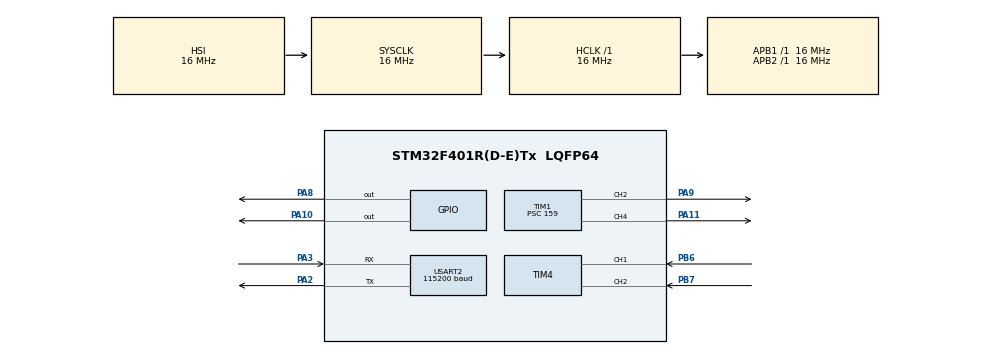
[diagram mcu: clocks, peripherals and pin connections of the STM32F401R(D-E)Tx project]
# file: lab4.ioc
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Mcu.Family=STM32F4
Mcu.Name=STM32F401R(D-E)Tx
Mcu.Package=LQFP64
NVIC.PriorityGroup=NVIC_PRIORITYGROUP_4
PA10.Signal=GPIO_Output
PA11.Signal=S_TIM1_CH4
PA2.Mode=Asynchronous
PA2.Signal=USART2_TX
PA3.Mode=Asynchronous
PA3.Signal=USART2_RX
PA8.Signal=GPIO_Output
PA9.Signal=S_TIM1_CH2
PB6.GPIO_ModeDefaultPP=GPIO_MODE_AF_PP
PB6.GPIO_PuPd=GPIO_PULLUP
PB6.Signal=S_TIM4_CH1
PB7.GPIO_PuPd=GPIO_PULLUP
PB7.Signal=S_TIM4_CH2
ProjectManager.HeapSize=0x200
ProjectManager.StackSize=0x400
ProjectManager.TargetToolchain=STM32CubeIDE
RCC.AHBFreq_Value=16000000
RCC.APB1Freq_Value=16000000
RCC.APB2Freq_Value=16000000
RCC.CortexFreq_Value=16000000
RCC.HSE_VALUE=25000000
RCC.HSI_VALUE=16000000
RCC.LSE_VALUE=32768
RCC.SYSCLKFreq_VALUE=16000000
RCC.VCOOutputFreq_Value=192000000
SH.S_TIM1_CH2.0=TIM1_CH2,PWM Generation2 CH2
SH.S_TIM1_CH4.0=TIM1_CH4,PWM Generation4 CH4
SH.S_TIM4_CH1.0=TIM4_CH1,Encoder_Interface
SH.S_TIM4_CH2.0=TIM4_CH2,Encoder_Interface
TIM1.Channel-PWM\ Generation2\ CH2=TIM_CHANNEL_2
TIM1.Channel-PWM\ Generation4\ CH4=TIM_CHANNEL_4
TIM1.CounterMode=TIM_COUNTERMODE_DOWN
TIM1.Period=100
TIM1.Prescaler=159
TIM2.Period=65535
TIM2.Prescaler=15
USART2.BaudRate=115200
USART2.VirtualMode=VM_ASYNC
VP_TIM1_VS_ClockSourceINT.Mode=Internal
VP_TIM2_VS_ClockSourceINT.Mode=Internal
board=custom

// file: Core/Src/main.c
/* USER CODE BEGIN Header */
/**
  ******************************************************************************
  * @file           : main.c
  * @brief          : Main program body
  ******************************************************************************
  * @attention
  *
  * <h2><center>&copy; Copyright (c) 2021 STMicroelectronics.
  * All rights reserved.</center></h2>
  *
  * This software component is licensed by ST under BSD 3-Clause license,
  * the "License"; You may not use this file except in compliance with the
  * License. You may obtain a copy of the License at:
  *                        opensource.org/licenses/BSD-3-Clause
  *
  ******************************************************************************
  */
/* USER CODE END Header */
#include "main.h"

/* USER CODE BEGIN PD */
// KPu=18  KU = 0.58
#define K_P 1.2
#define K_I	0.0
#define K_D 0.2

#define FREQUENCY 100
#define TARGET_POSITION 500
/* USER CODE END PD */

TIM_HandleTypeDef htim1;
TIM_HandleTypeDef htim2;
TIM_HandleTypeDef htim4;

UART_HandleTypeDef huart2;

void SystemClock_Config(void);
static void MX_GPIO_Init(void);
static void MX_TIM4_Init(void);
static void MX_USART2_UART_Init(void);
static void MX_TIM1_Init(void);
static void MX_TIM2_Init(void);

/* USER CODE BEGIN 0 */

void serial_print(int theta,int u,int error){
	uint8_t DATA[29];
	sprintf(DATA, "%6d %6d %6d %6d\n\r",HAL_GetTick(), theta,u,error);
    HAL_UART_Transmit(&huart2, DATA, 29, 100);
}

void rotare( int pwm){
	if(pwm > 0){
		HAL_GPIO_WritePin(GPIOA, GPIO_PIN_8, 0); //H1
		__HAL_TIM_SET_COMPARE(&htim1, TIM_CHANNEL_2, 0);//H2
		HAL_GPIO_WritePin(GPIOA, GPIO_PIN_10, 1); //H3
		__HAL_TIM_SET_COMPARE(&htim1, TIM_CHANNEL_4, pwm); //H4;
	}else if (pwm < 0){
		HAL_GPIO_WritePin(GPIOA, GPIO_PIN_10, 0); //H3
		__HAL_TIM_SET_COMPARE(&htim1, TIM_CHANNEL_4, 0);//H4
		HAL_GPIO_WritePin(GPIOA, GPIO_PIN_8, 1); //H1
		__HAL_TIM_SET_COMPARE(&htim1, TIM_CHANNEL_2, -pwm);//H2
	} else {
		__HAL_TIM_SET_COMPARE(&htim1, TIM_CHANNEL_4, 0);//H4
		__HAL_TIM_SET_COMPARE(&htim1, TIM_CHANNEL_2, 0);//H2
		HAL_GPIO_WritePin(GPIOA, GPIO_PIN_8, 1); //H1
		HAL_GPIO_WritePin(GPIOA, GPIO_PIN_10, 1); //H3
	}
}
/* USER CODE END 0 */

int main(void)
{

  /* MCU Configuration--------------------------------------------------------*/

  /* Reset of all peripherals, Initializes the Flash interface and the Systick. */
  HAL_Init();

  /* Configure the system clock */
  SystemClock_Config();

  /* Initialize all configured peripherals */
  MX_GPIO_Init();
  MX_TIM4_Init();
  MX_USART2_UART_Init();
  MX_TIM1_Init();
  MX_TIM2_Init();
  /* USER CODE BEGIN 2 */
  HAL_TIM_Encoder_Start(&htim4, TIM_CHANNEL_ALL);   	// start encoder
  HAL_TIM_PWM_Start(&htim1, TIM_CHANNEL_2);				// start pwm
  HAL_TIM_PWM_Start(&htim1, TIM_CHANNEL_4);				// start pwm
  HAL_TIM_Base_Start(&htim2); 							// start timer 2

  float u_p = 0, u_i = 0, u_d = 0;
  int error = TARGET_POSITION, last_error = TARGET_POSITION;
  int sum_u = 0, theta = 0;
  int period = 1000000/FREQUENCY;
  float period_s = 1/FREQUENCY;

  /* USER CODE END 2 */

  /* Infinite loop */
  /* USER CODE BEGIN WHILE */
  TIM4->CNT = 10000;
  TIM2->CNT= 0;
  while(HAL_GetTick() < 660 ){}
  while (1)
  {
    /* USER CODE END WHILE */

    /* USER CODE BEGIN 3 */
	  theta = 2*(TIM4->CNT-10000);
	  error = (TARGET_POSITION - theta);
	  u_p = error * K_P;
	  u_i = u_i + (error * (K_I * period_s));
	  u_d = ((error - last_error) * FREQUENCY) * K_D;
	  sum_u = (u_p + u_d + u_i);

	  if (sum_u > 100) sum_u = 100;
      else if (sum_u < -100) sum_u = -100;

	  rotare(sum_u);
	  serial_print(theta, sum_u,error);
	  while(TIM2->CNT < period ){}
	  last_error = error;
	  TIM2->CNT= 0;
  }
  /* USER CODE END 3 */
}

void SystemClock_Config(void)
{
  RCC_OscInitTypeDef RCC_OscInitStruct = {0};
  RCC_ClkInitTypeDef RCC_ClkInitStruct = {0};

  /** Configure the main internal regulator output voltage
  */
  __HAL_RCC_PWR_CLK_ENABLE();
  __HAL_PWR_VOLTAGESCALING_CONFIG(PWR_REGULATOR_VOLTAGE_SCALE2);
  /** Initializes the RCC Oscillators according to the specified parameters
  * in the RCC_OscInitTypeDef structure.
  */
  RCC_OscInitStruct.OscillatorType = RCC_OSCILLATORTYPE_HSI;
  RCC_OscInitStruct.HSIState = RCC_HSI_ON;
  RCC_OscInitStruct.HSICalibrationValue = RCC_HSICALIBRATION_DEFAULT;
  RCC_OscInitStruct.PLL.PLLState = RCC_PLL_NONE;
  if (HAL_RCC_OscConfig(&RCC_OscInitStruct) != HAL_OK)
  {
    Error_Handler();
  }
  /** Initializes the CPU, AHB and APB buses clocks
  */
  RCC_ClkInitStruct.ClockType = RCC_CLOCKTYPE_HCLK|RCC_CLOCKTYPE_SYSCLK
                              |RCC_CLOCKTYPE_PCLK1|RCC_CLOCKTYPE_PCLK2;
  RCC_ClkInitStruct.SYSCLKSource = RCC_SYSCLKSOURCE_HSI;
  RCC_ClkInitStruct.AHBCLKDivider = RCC_SYSCLK_DIV1;
  RCC_ClkInitStruct.APB1CLKDivider = RCC_HCLK_DIV1;
  RCC_ClkInitStruct.APB2CLKDivider = RCC_HCLK_DIV1;

  if (HAL_RCC_ClockConfig(&RCC_ClkInitStruct, FLASH_LATENCY_0) != HAL_OK)
  {
    Error_Handler();
  }
}

static void MX_TIM1_Init(void)
{

  TIM_ClockConfigTypeDef sClockSourceConfig = {0};
  TIM_MasterConfigTypeDef sMasterConfig = {0};
  TIM_OC_InitTypeDef sConfigOC = {0};
  TIM_BreakDeadTimeConfigTypeDef sBreakDeadTimeConfig = {0};

  htim1.Instance = TIM1;
  htim1.Init.Prescaler = 159;
  htim1.Init.CounterMode = TIM_COUNTERMODE_DOWN;
  htim1.Init.Period = 100;
  htim1.Init.ClockDivision = TIM_CLOCKDIVISION_DIV1;
  htim1.Init.RepetitionCounter = 0;
  htim1.Init.AutoReloadPreload = TIM_AUTORELOAD_PRELOAD_DISABLE;
  if (HAL_TIM_Base_Init(&htim1) != HAL_OK)
  {
    Error_Handler();
  }
  sClockSourceConfig.ClockSource = TIM_CLOCKSOURCE_INTERNAL;
  if (HAL_TIM_ConfigClockSource(&htim1, &sClockSourceConfig) != HAL_OK)
  {
    Error_Handler();
  }
  if (HAL_TIM_PWM_Init(&htim1) != HAL_OK)
  {
    Error_Handler();
  }
  sMasterConfig.MasterOutputTrigger = TIM_TRGO_RESET;
  sMasterConfig.MasterSlaveMode = TIM_MASTERSLAVEMODE_DISABLE;
  if (HAL_TIMEx_MasterConfigSynchronization(&htim1, &sMasterConfig) != HAL_OK)
  {
    Error_Handler();
  }
  sConfigOC.OCMode = TIM_OCMODE_PWM1;
  sConfigOC.Pulse = 0;
  sConfigOC.OCPolarity = TIM_OCPOLARITY_HIGH;
  sConfigOC.OCNPolarity = TIM_OCNPOLARITY_HIGH;
  sConfigOC.OCFastMode = TIM_OCFAST_DISABLE;
  sConfigOC.OCIdleState = TIM_OCIDLESTATE_RESET;
  sConfigOC.OCNIdleState = TIM_OCNIDLESTATE_RESET;
  if (HAL_TIM_PWM_ConfigChannel(&htim1, &sConfigOC, TIM_CHANNEL_2) != HAL_OK)
  {
    Error_Handler();
  }
  if (HAL_TIM_PWM_ConfigChannel(&htim1, &sConfigOC, TIM_CHANNEL_4) != HAL_OK)
  {
    Error_Handler();
  }
  sBreakDeadTimeConfig.OffStateRunMode = TIM_OSSR_DISABLE;
  sBreakDeadTimeConfig.OffStateIDLEMode = TIM_OSSI_DISABLE;
  sBreakDeadTimeConfig.LockLevel = TIM_LOCKLEVEL_OFF;
  sBreakDeadTimeConfig.DeadTime = 0;
  sBreakDeadTimeConfig.BreakState = TIM_BREAK_DISABLE;
  sBreakDeadTimeConfig.BreakPolarity = TIM_BREAKPOLARITY_HIGH;
  sBreakDeadTimeConfig.AutomaticOutput = TIM_AUTOMATICOUTPUT_DISABLE;
  if (HAL_TIMEx_ConfigBreakDeadTime(&htim1, &sBreakDeadTimeConfig) != HAL_OK)
  {
    Error_Handler();
  }
  HAL_TIM_MspPostInit(&htim1);

}

static void MX_TIM2_Init(void)
{

  TIM_ClockConfigTypeDef sClockSourceConfig = {0};
  TIM_MasterConfigTypeDef sMasterConfig = {0};

  htim2.Instance = TIM2;
  htim2.Init.Prescaler = 15;
  htim2.Init.CounterMode = TIM_COUNTERMODE_UP;
  htim2.Init.Period = 65535;
  htim2.Init.ClockDivision = TIM_CLOCKDIVISION_DIV1;
  htim2.Init.AutoReloadPreload = TIM_AUTORELOAD_PRELOAD_DISABLE;
  if (HAL_TIM_Base_Init(&htim2) != HAL_OK)
  {
    Error_Handler();
  }
  sClockSourceConfig.ClockSource = TIM_CLOCKSOURCE_INTERNAL;
  if (HAL_TIM_ConfigClockSource(&htim2, &sClockSourceConfig) != HAL_OK)
  {
    Error_Handler();
  }
  sMasterConfig.MasterOutputTrigger = TIM_TRGO_RESET;
  sMasterConfig.MasterSlaveMode = TIM_MASTERSLAVEMODE_DISABLE;
  if (HAL_TIMEx_MasterConfigSynchronization(&htim2, &sMasterConfig) != HAL_OK)
  {
    Error_Handler();
  }

}

static void MX_TIM4_Init(void)
{

  TIM_Encoder_InitTypeDef sConfig = {0};
  TIM_MasterConfigTypeDef sMasterConfig = {0};

  htim4.Instance = TIM4;
  htim4.Init.Prescaler = 0;
  htim4.Init.CounterMode = TIM_COUNTERMODE_UP;
  htim4.Init.Period = 65535;
  htim4.Init.ClockDivision = TIM_CLOCKDIVISION_DIV1;
  htim4.Init.AutoReloadPreload = TIM_AUTORELOAD_PRELOAD_DISABLE;
  sConfig.EncoderMode = TIM_ENCODERMODE_TI1;
  sConfig.IC1Polarity = TIM_ICPOLARITY_RISING;
  sConfig.IC1Selection = TIM_ICSELECTION_DIRECTTI;
  sConfig.IC1Prescaler = TIM_ICPSC_DIV1;
  sConfig.IC1Filter = 0;
  sConfig.IC2Polarity = TIM_ICPOLARITY_RISING;
  sConfig.IC2Selection = TIM_ICSELECTION_DIRECTTI;
  sConfig.IC2Prescaler = TIM_ICPSC_DIV1;
  sConfig.IC2Filter = 0;
  if (HAL_TIM_Encoder_Init(&htim4, &sConfig) != HAL_OK)
  {
    Error_Handler();
  }
  sMasterConfig.MasterOutputTrigger = TIM_TRGO_RESET;
  sMasterConfig.MasterSlaveMode = TIM_MASTERSLAVEMODE_DISABLE;
  if (HAL_TIMEx_MasterConfigSynchronization(&htim4, &sMasterConfig) != HAL_OK)
  {
    Error_Handler();
  }

}

static void MX_USART2_UART_Init(void)
{

  huart2.Instance = USART2;
  huart2.Init.BaudRate = 115200;
  huart2.Init.WordLength = UART_WORDLENGTH_8B;
  huart2.Init.StopBits = UART_STOPBITS_1;
  huart2.Init.Parity = UART_PARITY_NONE;
  huart2.Init.Mode = UART_MODE_TX_RX;
  huart2.Init.HwFlowCtl = UART_HWCONTROL_NONE;
  huart2.Init.OverSampling = UART_OVERSAMPLING_16;
  if (HAL_UART_Init(&huart2) != HAL_OK)
  {
    Error_Handler();
  }

}

static void MX_GPIO_Init(void)
{
  GPIO_InitTypeDef GPIO_InitStruct = {0};

  /* GPIO Ports Clock Enable */
  __HAL_RCC_GPIOA_CLK_ENABLE();
  __HAL_RCC_GPIOB_CLK_ENABLE();

  /*Configure GPIO pin Output Level */
  HAL_GPIO_WritePin(GPIOA, GPIO_PIN_8|GPIO_PIN_10, GPIO_PIN_RESET);

  /*Configure GPIO pins : PA8 PA10 */
  GPIO_InitStruct.Pin = GPIO_PIN_8|GPIO_PIN_10;
  GPIO_InitStruct.Mode = GPIO_MODE_OUTPUT_PP;
  GPIO_InitStruct.Pull = GPIO_NOPULL;
  GPIO_InitStruct.Speed = GPIO_SPEED_FREQ_LOW;
  HAL_GPIO_Init(GPIOA, &GPIO_InitStruct);

}

void Error_Handler(void)
{
  __disable_irq();
  while (1)
  {
  }
}

/************************ (C) COPYRIGHT STMicroelectronics *****END OF FILE****/
